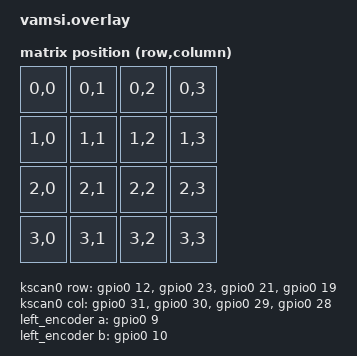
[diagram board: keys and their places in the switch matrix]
#include <dt-bindings/zmk/matrix_transform.h>
#include "vamsi-layouts.dtsi"

/ {
    chosen {
        zmk,kscan = &kscan0;
        zmk,matrix_transform = &default_transform;
        zmk,physical-layout = &default_layout;
    };

    /* -------------------------
       Key Matrix
       Replace GPIO numbers with your actual wiring
       ------------------------- */
    kscan0: kscan {
        compatible = "zmk,kscan-gpio-matrix";
        diode-direction = "col2row";  /* or row2col if your PCB uses that */
        wakeup-source;

        col-gpios = <
            &gpio0 31 GPIO_ACTIVE_HIGH,
            &gpio0 30 GPIO_ACTIVE_HIGH,
            &gpio0 29 GPIO_ACTIVE_HIGH,
            &gpio0 28 GPIO_ACTIVE_HIGH
        >;

        row-gpios = <
            &gpio0 12  (GPIO_ACTIVE_HIGH | GPIO_PULL_DOWN),
            &gpio0 23  (GPIO_ACTIVE_HIGH | GPIO_PULL_DOWN),
            &gpio0 21 (GPIO_ACTIVE_HIGH | GPIO_PULL_DOWN),
            &gpio0 19 (GPIO_ACTIVE_HIGH | GPIO_PULL_DOWN)
        >;

        debounce-press-ms = <5>;
        debounce-release-ms = <5>;
    };

    /* -------------------------
       Matrix Transform
       Maps physical keys to logical positions
       ------------------------- */
    default_transform: keymap_transform0 {
        compatible = "zmk,matrix-transform";
        columns = <4>;
        rows = <4>;
        map = <
            RC(0,0) RC(0,1) RC(0,2) RC(0,3)
            RC(1,0) RC(1,1) RC(1,2) RC(1,3)
            RC(2,0) RC(2,1) RC(2,2) RC(2,3)
            RC(3,0) RC(3,1) RC(3,2) RC(3,3)
        >;
    };

    /* -------------------------
       Rotary Encoder (EC11)
       Replace pins with your actual encoder pins
       ------------------------- */
    left_encoder: encoder_left {
        compatible = "alps,ec11";
        a-gpios = <&gpio0 9 (GPIO_ACTIVE_HIGH | GPIO_PULL_DOWN)>;
        b-gpios = <&gpio0 10 (GPIO_ACTIVE_HIGH | GPIO_PULL_DOWN)>;
        pin-sw = <&gpio1 14 (GPIO_ACTIVE_HIGH | GPIO_PULL_DOWN)>; /* optional push button */
        steps = <24>;
        status = "okay";
    };

    sensors {
        compatible = "zmk,keymap-sensors";
        sensors = <&left_encoder>;
    };

    /* -------------------------
       RGB Underlight
       Replace with your actual pin and number of LEDs
       ------------------------- */
    rgb0: rgb_leds {
        compatible = "zmk,ws2812";
        pin = <&gpio1 1>;
        num_leds = <4>;  /* change to actual count */
        label = "RGB Underlight";
    };

    /* -------------------------
       Battery measurement
       Replace adc0 pin with your ADC pin
       ------------------------- */
    battery: battery {
        compatible = "zmk,battery";
        adc = <&adc0 4>;  /* change to your ADC channel */
        full_mv = <4200>; /* fully charged voltage */
        empty_mv = <3000>; /* empty voltage */
    };
};
